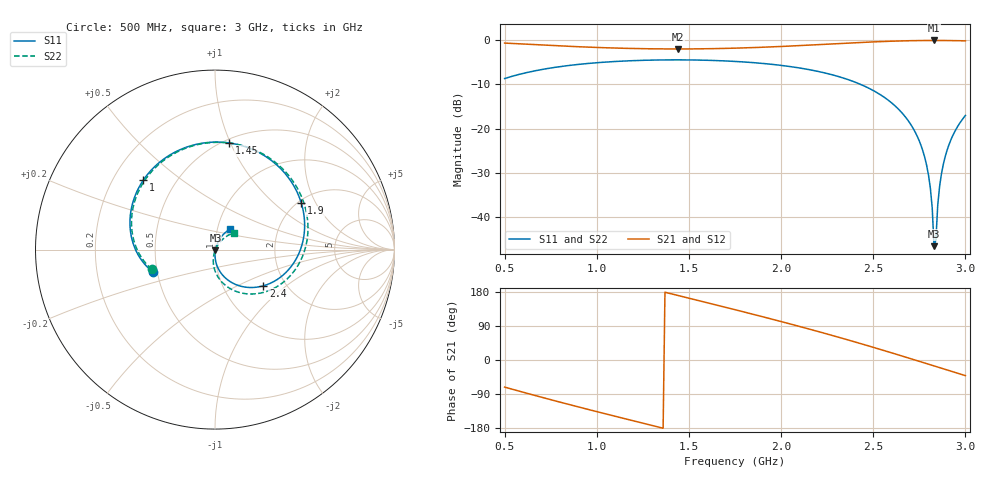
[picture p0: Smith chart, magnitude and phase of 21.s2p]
!freq-unit  param-type  data-format  keyword  impedance-ohms
# GHZ  S  RI  R  50
!Freq  ReS11  ImS11  ReS21  ImS21  ReS12  ImS12  ReS22  ImS22
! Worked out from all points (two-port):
!   251 points, 500 MHz to 3 GHz, reference 50 ohm
!   highest |S21| = -0.07 dB at 2.83 GHz (marker M1); lowest = -2.0 dB at 1.44 GHz (marker M2)
!   |S21| within 3 dB of the highest: start of sweep to end of sweep
!   lowest |S11| = -46.5 dB at 2.83 GHz (marker M3), VSWR 1.01, Z = 50.2 - j0.425 ohm
!   |S11| at or under -10 dB: 2.432 GHz to end of sweep
!   |S22| runs from -47.1 to -4.4 dB; largest |S21 - S12| = 0
!   S11 on the Smith chart (normalised r, x): 500 MHz: 0.47, -0.13; 1 GHz: 0.33, +0.37; 1.45 GHz: 0.53, +0.99; 1.9 GHz: 2.09, +1.54; 2.4 GHz: 1.54, -0.70; 3 GHz: 1.15, +0.27
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0.5  -0.3479 -0.1225  0.2934 -0.8793  0.2934 -0.8793  -0.3521 -0.1098
0.7  -0.4622 0.0554  -0.1262 -0.8729  -0.1262 -0.8729  -0.4587 0.079
0.92  -0.4436 0.3039  -0.497 -0.6765  -0.497 -0.6765  -0.4219 0.3332
1  -0.399 0.3876  -0.5974 -0.572  -0.5974 -0.572  -0.3692 0.416
1.34  -0.0547 0.5952  -0.7963 -0.0336  -0.7963 -0.0336  0.00469 0.5976
1.44  0.0684 0.5956  -0.7843 0.1329  -0.7843 0.1329  0.1316 0.5847
1.45  0.0806 0.5939  -0.7813 0.1493  -0.7813 0.1493  0.144 0.5817
1.75  0.3957 0.4179  -0.5518 0.5959  -0.5518 0.5959  0.4464 0.3631
1.9  0.481 0.2589  -0.3406 0.7588  -0.3406 0.7588  0.5125 0.1888
2.17  0.4549 -0.0472  0.1635 0.8675  0.1635 0.8675  0.4414 -0.1191
2.4  0.2695 -0.2018  0.6278 0.6924  0.6278 0.6924  0.2298 -0.246
2.59  0.0907 -0.1822  0.911 0.3381  0.911 0.3381  0.0544 -0.1961
2.7  0.0218 -0.1128  0.9834 0.0687  0.9834 0.0687  -0.00114 -0.1148
2.77  0.00199 -0.0556  0.9843 -0.1128  0.9843 -0.1128  -0.00969 -0.0547
2.81  0.000283 -0.0213  0.9682 -0.216  0.9682 -0.216  -0.00456 -0.0207
2.82  0.000973 -0.0127  0.9623 -0.2415  0.9623 -0.2415  -0.00216 -0.0125
2.83  0.00211 -0.00424  0.9556 -0.2669  0.9556 -0.2669  0.000683 -0.00437
2.84  0.00369 0.0042  0.9482 -0.292  0.9482 -0.292  0.00396 0.00357
2.85  0.0057 0.0125  0.9401 -0.3169  0.9401 -0.3169  0.00765 0.0113
2.86  0.00816 0.0208  0.9312 -0.3416  0.9312 -0.3416  0.0118 0.0189
2.88  0.0143 0.0368  0.9113 -0.39  0.9113 -0.39  0.0212 0.0333
3  0.0834 0.1141  0.7382 -0.6473  0.7382 -0.6473  0.1056 0.0938
